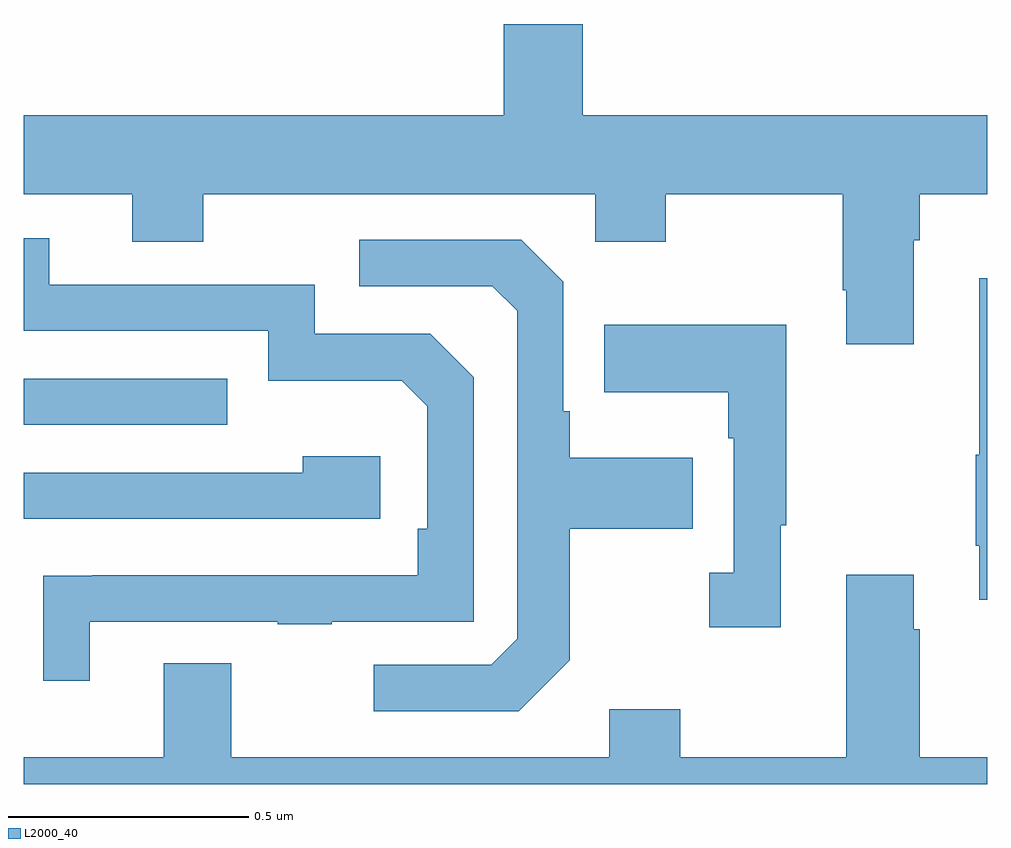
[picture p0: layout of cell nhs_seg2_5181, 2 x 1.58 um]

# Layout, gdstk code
import gdstk
lib = gdstk.Library(unit=1e-6, precision=1e-09)
def R(c, l, rs):  # rectangles x0, y0, x1, y1
    for r in rs: c.add(gdstk.rectangle(r[:2], r[2:], *l))
def P(c, l, *ps):  # polygons
    for p in ps: c.add(gdstk.Polygon(p, *l))
L2000_40 = (2000, 40)

nhs_seg2_5181 = lib.new_cell('nhs_seg2_5181')
R(nhs_seg2_5181, L2000_40, [(176,592.545,176.423,592.641)])
P(nhs_seg2_5181, L2000_40, [(177.847,592.928),(177.86,592.928),(177.86,593.024),(178,593.024),(178,593.188),(177.16,593.188),(177.16,593.377),(176.996,593.377),(176.996,593.188),(176,593.188),(176,593.024),(176.225,593.024),(176.225,592.925),(176.373,592.925),(176.373,593.024),(177.186,593.024),(177.186,592.925),(177.333,592.925),(177.333,593.024),(177.7,593.024),(177.7,592.825),(177.707,592.825),(177.707,592.713),(177.847,592.713)],
  [(176.137,592.137),(176.527,592.137),(176.527,592.132),(176.639,592.132),(176.639,592.137),(176.934,592.137),(176.934,592.644),(176.844,592.734),(176.604,592.734),(176.604,592.836),(176.053,592.836),(176.053,592.932),(176,592.932),(176,592.74),(176.508,592.74),(176.508,592.637),(176.785,592.637),(176.838,592.584),(176.838,592.33),(176.818,592.33),(176.818,592.233),(176.143,592.233),(176.143,592.232),(176.041,592.232),(176.041,592.014),(176.137,592.014)],
  [(177.133,592.057),(177.133,592.33),(177.389,592.33),(177.389,592.477),(177.133,592.477),(177.133,592.573),(177.12,592.573),(177.12,592.842),(177.033,592.929),(176.697,592.929),(176.697,592.833),(176.973,592.833),(177.024,592.782),(177.024,592.101),(176.97,592.047),(176.727,592.047),(176.727,591.951),(177.027,591.951)],
  [(178,592.849),(177.983,592.849),(177.983,592.483),(177.976,592.483),(177.976,592.294),(177.983,592.294),(177.983,592.182),(178,592.182)],
  [(177.571,592.337),(177.583,592.337),(177.583,592.753),(177.205,592.753),(177.205,592.613),(177.462,592.613),(177.462,592.517),(177.474,592.517),(177.474,592.238),(177.423,592.238),(177.423,592.125),(177.571,592.125)],
  [(176.74,592.48),(176.579,592.48),(176.579,592.446),(176,592.446),(176,592.35),(176.74,592.35)],
  [(178,591.856),(177.86,591.856),(177.86,592.121),(177.847,592.121),(177.847,592.234),(177.707,592.234),(177.707,591.856),(177.363,591.856),(177.363,591.955),(177.215,591.955),(177.215,591.856),(176.431,591.856),(176.431,592.051),(176.291,592.051),(176.291,591.856),(176,591.856),(176,591.8),(178,591.8)])

lib.write_gds('nhs_seg2_5181.gds')
